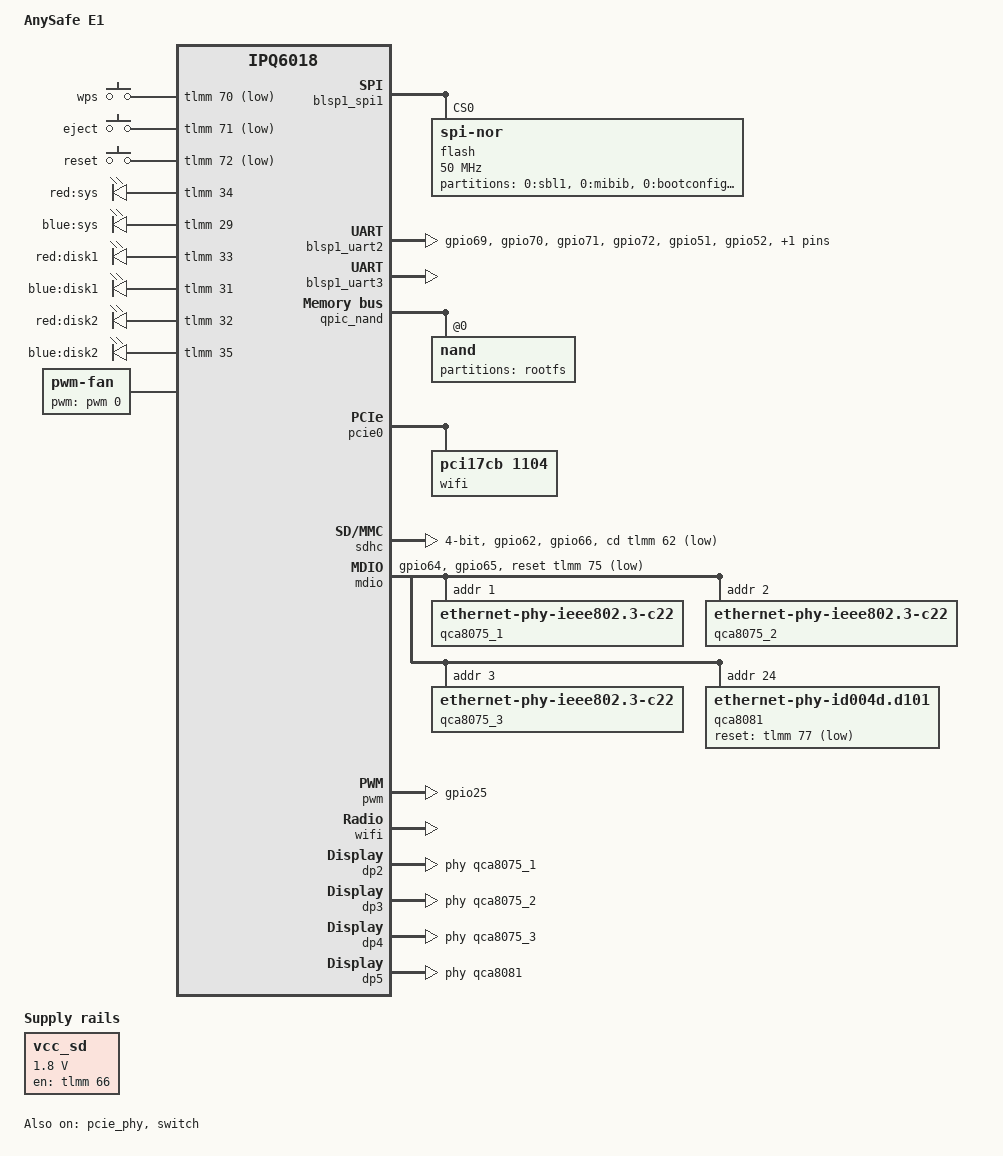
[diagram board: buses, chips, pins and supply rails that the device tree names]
// SPDX-License-Identifier: GPL-2.0-or-later OR MIT

/dts-v1/;

#include "ipq6018-512m.dtsi"
#include "ipq6018-ess.dtsi"
#include "ipq6018-nss.dtsi"

#include <dt-bindings/gpio/gpio.h>
#include <dt-bindings/input/input.h>

/ {
	model = "AnySafe E1";
	compatible = "anysafe,e1", "qcom,ipq6018";

	aliases {
		serial0 = &blsp1_uart3;
		serial1 = &blsp1_uart2;

		led-boot = &led_sys_blue;
		led-failsafe = &led_sys_red;
		led-running = &led_sys_blue;
		led-upgrade = &led_sys_red;

		ethernet1 = "/soc/dp2";
		ethernet2 = "/soc/dp3";
		ethernet3 = "/soc/dp4";
		ethernet4 = "/soc/dp5";
	};

	chosen {
		stdout-path = "serial0:115200n8";
		bootargs-append = " root=/dev/ubiblock0_1";
	};

	keys {
		compatible = "gpio-keys";

		wps {
			label = "wps";
			linux,code = <KEY_WPS_BUTTON>;
			gpios = <&tlmm 70 GPIO_ACTIVE_LOW>;
		};

		eject {
			label = "eject";
			linux,code = <BTN_0>;
			gpios = <&tlmm 71 GPIO_ACTIVE_LOW>;
		};

		reset {
			label = "reset";
			linux,code = <KEY_RESTART>;
			gpios = <&tlmm 72 GPIO_ACTIVE_LOW>;
		};
	};

	leds {
		compatible = "gpio-leds";

		led_sys_red: sys-red {
			label = "red:sys";
			gpios = <&tlmm 34 GPIO_ACTIVE_HIGH>;
		};

		led_sys_blue: sys-blue {
			label = "blue:sys";
			gpios = <&tlmm 29 GPIO_ACTIVE_HIGH>;
		};

		disk1-red {
			label = "red:disk1";
			gpios = <&tlmm 33 GPIO_ACTIVE_HIGH>;
		};

		disk1-blue {
			label = "blue:disk1";
			gpios = <&tlmm 31 GPIO_ACTIVE_HIGH>;
		};

		disk2-red {
			label = "red:disk2";
			gpios = <&tlmm 32 GPIO_ACTIVE_HIGH>;
		};

		disk2-blue {
			label = "blue:disk2";
			gpios = <&tlmm 35 GPIO_ACTIVE_HIGH>;
		};
	};

	fan: pwm-fan {
		compatible = "pwm-fan";
		pwms = <&pwm 0 40000 0>;
		cooling-levels = <64 128 192 255>;
		#cooling-cells = <2>;
	};

	thermal-zones {
		cpu-thermal {
			trips {
				cpu_trip_high: active-high {
					temperature = <100000>;
					hysteresis = <2000>;
					type = "active";
				};

				cpu_trip_med: active-med {
					temperature = <75000>;
					hysteresis = <2000>;
					type = "active";
				};

				cpu_trip_low: active-low {
					temperature = <50000>;
					hysteresis = <2000>;
					type = "active";
				};

				cpu_trip_idle: active-idle {
					temperature = <25000>;
					hysteresis = <2000>;
					type = "active";
				};
			};

			cooling-maps {
				cpu-active-high {
					cooling-device = <&fan 3 3>;
					trip = <&cpu_trip_high>;
				};

				cpu-active-med {
					cooling-device = <&fan 2 2>;
					trip = <&cpu_trip_med>;
				};

				cpu-active-low {
					cooling-device = <&fan 1 1>;
					trip = <&cpu_trip_low>;
				};

				cpu-active-idle {
					cooling-device = <&fan 0 0>;
					trip = <&cpu_trip_idle>;
				};
			};
		};
	};

	vcc_sd: regulator-vcc-sd {
		compatible = "regulator-fixed";
		regulator-name = "vcc_sd";
		regulator-min-microvolt = <1800000>;
		regulator-max-microvolt = <1800000>;
		gpios = <&tlmm 66 GPIO_ACTIVE_HIGH>;
		enable-active-high;
		regulator-always-on;
	};
};

&tlmm {
	beep_pins: beep-pins {
		pins = "gpio24";
		function = "pwm22";
		drive-strength = <8>;
	};

	btcoex_pins: btcoex-pins {
		mux_0 {
			pins = "gpio51";
			function = "pta1_1";
			drive-strength = <6>;
			bias-pull-down;
		};

		mux_1 {
			pins = "gpio52";
			function = "pta1_2";
			drive-strength = <6>;
			bias-pull-down;
		};

		mux_2 {
			pins = "gpio53";
			function = "pta1_0";
			drive-strength = <6>;
			bias-pull-down;
		};
	};

	hsuart_pins: hsuart-pins {
		pins = "gpio69", "gpio70", "gpio71", "gpio72";
		function = "blsp1_uart";
		drive-strength = <8>;
		bias-disable;
	};

	mdio_pins: mdio-pins {
		mdc {
			pins = "gpio64";
			function = "mdc";
			drive-strength = <8>;
			bias-pull-up;
		};

		mdio {
			pins = "gpio65";
			function = "mdio";
			drive-strength = <8>;
			bias-pull-up;
		};
	};

	pwm_pins: pwm-pins {
		pins = "gpio25";
		function = "pwm32";
		drive-strength = <8>;
	};

	sata_pins: sata-pins {
		mux_1 {
			pins = "gpio2", "gpio16";
			function = "gpio";
			drive-strength = <8>;
			output-low;
			bias-disable;
		};

		mux_2 {
			pins = "gpio47", "gpio53";
			function = "gpio";
			drive-strength = <8>;
			input;
			bias-disable;
		};
	};

	sd_pins: sd-pins {
		data {
			pins = "gpio62";
			function = "sd_card";
			drive-strength = <8>;
			bias-pull-up;
		};

		power {
			pins = "gpio66";
			function = "gpio";
			drive-strength = <8>;
			bias-pull-up;
		};
	};
};

&blsp1_spi1 {
	status = "okay";

	flash@0 {
		compatible = "jedec,spi-nor";
		reg = <0>;
		spi-max-frequency = <50000000>;

		partitions {
			compatible = "fixed-partitions";
			#address-cells = <1>;
			#size-cells = <1>;

			partition@0 {
				label = "0:sbl1";
				reg = <0x00000000 0x000c0000>;
				read-only;
			};

			partition@c0000 {
				label = "0:mibib";
				reg = <0x000c0000 0x00010000>;
				read-only;
			};

			partition@d0000 {
				label = "0:bootconfig";
				reg = <0x000d0000 0x00020000>;
				read-only;
			};

			partition@f0000 {
				label = "0:bootconfig1";
				reg = <0x000f0000 0x00020000>;
				read-only;
			};

			partition@110000 {
				label = "0:qsee";
				reg = <0x00110000 0x001a0000>;
				read-only;
			};

			partition@2b0000 {
				label = "0:qsee_1";
				reg = <0x002b0000 0x001a0000>;
				read-only;
			};

			partition@450000 {
				label = "0:devcfg";
				reg = <0x00450000 0x00010000>;
				read-only;
			};

			partition@460000 {
				label = "0:devcfg_1";
				reg = <0x00460000 0x00010000>;
				read-only;
			};

			partition@470000 {
				label = "0:rpm";
				reg = <0x00470000 0x00040000>;
				read-only;
			};

			partition@4b0000 {
				label = "0:rpm_1";
				reg = <0x004b0000 0x00040000>;
				read-only;
			};

			partition@4f0000 {
				label = "0:cdt";
				reg = <0x004f0000 0x00010000>;
				read-only;
			};

			partition@500000 {
				label = "0:cdt_1";
				reg = <0x00500000 0x00010000>;
				read-only;
			};

			partition@510000 {
				label = "0:appsblenv";
				reg = <0x00510000 0x00010000>;
			};

			partition@520000 {
				label = "0:appsbl";
				reg = <0x00520000 0x000a0000>;
				read-only;
			};

			partition@5c0000 {
				label = "0:appsbl_1";
				reg = <0x005c0000 0x000a0000>;
				read-only;
			};

			partition@660000 {
				label = "0:art";
				reg = <0x00660000 0x00080000>;
				read-only;
			};

			partition@6e0000 {
				label = "0:asf";
				reg = <0x006e0000 0x00040000>;
				read-only;
			};
		};
	};
};

&blsp1_uart2 {
	dmas = <&blsp_dma 21>, <&blsp_dma 21>;
	dma-names = "tx", "rx";
	pinctrl-0 = <&hsuart_pins>, <&btcoex_pins>;
	pinctrl-names = "default";
	status = "okay";
};

&blsp1_uart3 {
	pinctrl-0 = <&serial_3_pins>;
	pinctrl-names = "default";
	status = "okay";
};

&qpic_nand {
	status = "okay";

	partitions {
		status = "disabled";
	};

	nand@0 {
		reg = <0>;

		nand-ecc-strength = <8>;
		nand-ecc-step-size = <512>;
		nand-bus-width = <8>;

		partitions {
			compatible = "fixed-partitions";
			#address-cells = <1>;
			#size-cells = <1>;

			partition@0 {
				label = "rootfs";
				reg = <0x0 0x0>;
			};
		};
	};
};

&pcie_phy {
	status = "okay";
};

&pcie0 {
	status = "okay";
	perst-gpios = <&tlmm 60 GPIO_ACTIVE_LOW>;

	pcie@0 {
		reg = <0x0 0x0 0x0 0x0 0x0>;
		bus-range = <0x01 0xff>;
		#address-cells = <3>;
		#size-cells = <2>;
		ranges;

		wifi@0,0 {
			compatible = "pci17cb,1104";
			reg = <0x00010000 0 0 0 0>;

			qcom,ath11k-calibration-variant = "AnySafe-E1";
			qcom,ath11k-fw-memory-mode = <1>;
		};
	};
};

&sdhc {
	bus-width = <4>;
	cd-gpios = <&tlmm 62 GPIO_ACTIVE_LOW>;
	pinctrl-0 = <&sd_pins>;
	pinctrl-names = "default";
	vqmmc-supply = <&vcc_sd>;
	status = "okay";
};

&mdio {
	status = "okay";

	pinctrl-0 = <&mdio_pins>;
	pinctrl-names = "default";
	reset-gpios = <&tlmm 75 GPIO_ACTIVE_LOW>;

	qca8075_1: ethernet-phy@1 {
		compatible = "ethernet-phy-ieee802.3-c22";
		reg = <1>;
	};

	qca8075_2: ethernet-phy@2 {
		compatible = "ethernet-phy-ieee802.3-c22";
		reg = <2>;
	};

	qca8075_3: ethernet-phy@3 {
		compatible = "ethernet-phy-ieee802.3-c22";
		reg = <3>;
	};

	qca8081: ethernet-phy@24 {
		compatible = "ethernet-phy-id004d.d101";
		reg = <24>;
		reset-deassert-us = <10000>;
		reset-gpios = <&tlmm 77 GPIO_ACTIVE_LOW>;
	};
};

&switch {
	status = "okay";

	switch_cpu_bmp = <0x1>;  /* cpu port bitmap */
	switch_lan_bmp = <0x1c>; /* lan port bitmap */
	switch_wan_bmp = <0x20>; /* wan port bitmap */
	switch_inner_bmp = <0xc0>; /*inner port bitmap*/
	switch_mac_mode = <0x0>; /* mac mode for uniphy 0*/
	switch_mac_mode1 = <0xf>; /* mac mode for uniphy 1*/
	switch_mac_mode2 = <0xff>; /* mac mode for uniphy 2*/

	qcom,port_phyinfo {
		port@2 {
			port_id = <2>;
			phy_address = <1>;
		};

		port@3 {
			port_id = <3>;
			phy_address = <2>;
		};

		port@4 {
			port_id = <4>;
			phy_address = <3>;
		};

		port@5 {
			port_id = <5>;
			phy_address = <24>;
			port_mac_sel = "QGMAC_PORT";
		};
	};
};

&pwm {
	pinctrl-0 = <&pwm_pins>;
	pinctrl-names = "default";
	status = "okay";
};

&wifi {
	status = "okay";

	qcom,ath11k-calibration-variant = "AnySafe-E1";
	qcom,ath11k-fw-memory-mode = <1>;
};

&edma {
	status = "okay";
};

&dp2 {
	status = "okay";
	phy-handle = <&qca8075_1>;
	label = "lan1";
};

&dp3 {
	status = "okay";
	phy-handle = <&qca8075_2>;
	label = "lan2";
};

&dp4 {
	status = "okay";
	phy-handle = <&qca8075_3>;
	label = "lan3";
};

&dp5 {
	status = "okay";
	phy-handle = <&qca8081>;
	label = "wan";
};
